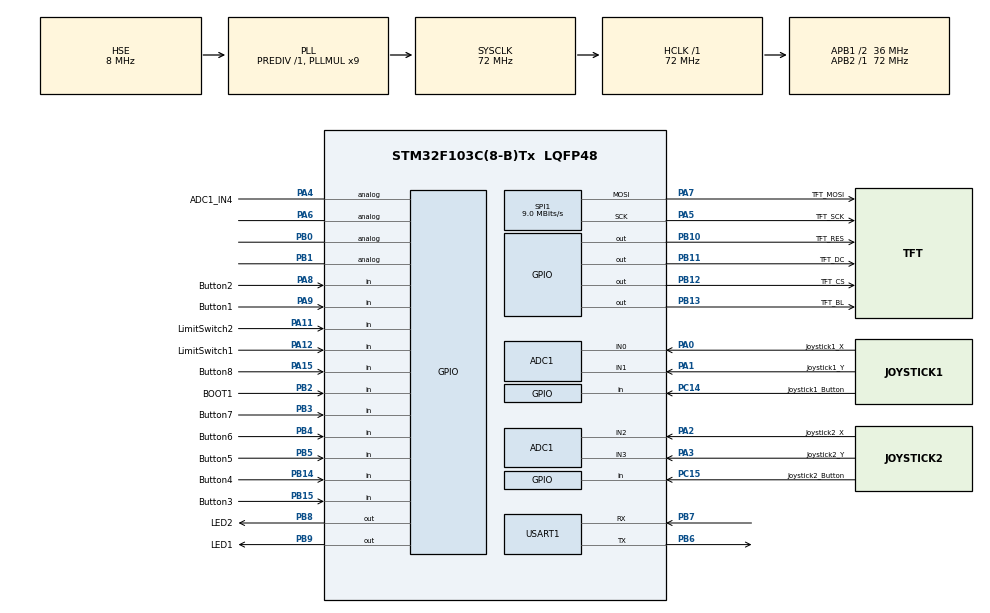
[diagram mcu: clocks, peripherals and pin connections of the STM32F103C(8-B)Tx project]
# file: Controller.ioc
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ADC1.Channel-0\#ChannelRegularConversion=ADC_CHANNEL_0
ADC1.NbrOfConversionFlag=1
ADC1.Rank-0\#ChannelRegularConversion=1
ADC1.SamplingTime-0\#ChannelRegularConversion=ADC_SAMPLETIME_71CYCLES_5
ADC1.master=1
Mcu.Family=STM32F1
Mcu.Name=STM32F103C(8-B)Tx
Mcu.Package=LQFP48
NVIC.PriorityGroup=NVIC_PRIORITYGROUP_4
NVIC.USART1_IRQn=true\:1\:0\:true\:false\:true\:true\:true\:true
PA0-WKUP.GPIO_Label=Joystick1_X
PA0-WKUP.Signal=SharedAnalog_PA0
PA1.GPIO_Label=Joystick1_Y
PA1.Signal=SharedAnalog_PA1
PA11.GPIO_Label=LimitSwitch2
PA11.GPIO_PuPd=GPIO_NOPULL
PA11.Signal=GPIO_Input
PA12.GPIO_Label=LimitSwitch1
PA12.GPIO_PuPd=GPIO_NOPULL
PA12.Signal=GPIO_Input
PA13.Mode=Serial_Wire
PA13.Signal=SYS_JTMS-SWDIO
PA14.Mode=Serial_Wire
PA14.Signal=SYS_JTCK-SWCLK
PA15.GPIO_Label=Button8
PA15.GPIO_PuPd=GPIO_PULLUP
PA15.Signal=GPIO_Input
PA2.GPIO_Label=Joystick2_X
PA2.Signal=SharedAnalog_PA2
PA3.GPIO_Label=Joystick2_Y
PA3.Signal=SharedAnalog_PA3
PA4.GPIO_Label=ADC1_IN4
PA4.Signal=GPIO_Analog
PA5.GPIO_Label=TFT_SCK
PA5.Mode=TX_Only_Simplex_Unidirect_Master
PA5.Signal=SPI1_SCK
PA6.Signal=GPIO_Analog
PA7.GPIO_Label=TFT_MOSI
PA7.Mode=TX_Only_Simplex_Unidirect_Master
PA7.Signal=SPI1_MOSI
PA8.GPIO_Label=Button2
PA8.GPIO_PuPd=GPIO_PULLUP
PA8.Signal=GPIO_Input
PA9.GPIO_Label=Button1
PA9.GPIO_PuPd=GPIO_PULLUP
PA9.Signal=GPIO_Input
PB0.Signal=GPIO_Analog
PB1.Signal=GPIO_Analog
PB10.GPIO_Label=TFT_RES
PB10.Signal=GPIO_Output
PB11.GPIO_Label=TFT_DC
PB11.Signal=GPIO_Output
PB12.GPIO_Label=TFT_CS
PB12.Signal=GPIO_Output
PB13.GPIO_Label=TFT_BL
PB13.Signal=GPIO_Output
PB14.GPIO_Label=Button4
PB14.GPIO_PuPd=GPIO_PULLUP
PB14.Signal=GPIO_Input
PB15.GPIO_Label=Button3
PB15.GPIO_PuPd=GPIO_PULLUP
PB15.Signal=GPIO_Input
PB2.GPIO_Label=BOOT1
PB2.Signal=GPIO_Input
PB3.GPIO_Label=Button7
PB3.GPIO_PuPd=GPIO_PULLUP
PB3.Signal=GPIO_Input
PB4.GPIO_Label=Button6
PB4.GPIO_PuPd=GPIO_PULLUP
PB4.Signal=GPIO_Input
PB5.GPIO_Label=Button5
PB5.GPIO_PuPd=GPIO_PULLUP
PB5.Signal=GPIO_Input
PB6.Mode=Asynchronous
PB6.Signal=USART1_TX
PB7.Mode=Asynchronous
PB7.Signal=USART1_RX
PB8.GPIO_Label=LED2
PB8.GPIO_PuPd=GPIO_NOPULL
PB8.PinState=GPIO_PIN_SET
PB8.Signal=GPIO_Output
PB9.GPIO_Label=LED1
PB9.GPIO_PuPd=GPIO_NOPULL
PB9.PinState=GPIO_PIN_SET
PB9.Signal=GPIO_Output
PC14-OSC32_IN.GPIO_Label=Joystick1_Button
PC14-OSC32_IN.GPIO_PuPd=GPIO_NOPULL
PC14-OSC32_IN.Signal=GPIO_Input
PC15-OSC32_OUT.GPIO_Label=Joystick2_Button
PC15-OSC32_OUT.GPIO_PuPd=GPIO_NOPULL
PC15-OSC32_OUT.Signal=GPIO_Input
PD0-OSC_IN.Mode=HSE-External-Oscillator
PD0-OSC_IN.Signal=RCC_OSC_IN
PD1-OSC_OUT.Mode=HSE-External-Oscillator
PD1-OSC_OUT.Signal=RCC_OSC_OUT
ProjectManager.HeapSize=0x200
ProjectManager.StackSize=0x400
ProjectManager.TargetToolchain=CMake
RCC.ADCPresc=RCC_ADCPCLK2_DIV6
RCC.AHBFreq_Value=72000000
RCC.APB1CLKDivider=RCC_HCLK_DIV2
RCC.APB1Freq_Value=36000000
RCC.APB1TimFreq_Value=72000000
RCC.APB2Freq_Value=72000000
RCC.APB2TimFreq_Value=72000000
RCC.HCLKFreq_Value=72000000
RCC.PLLMUL=RCC_PLL_MUL9
RCC.PLLSourceVirtual=RCC_PLLSOURCE_HSE
RCC.SYSCLKFreq_VALUE=72000000
RCC.SYSCLKSource=RCC_SYSCLKSOURCE_PLLCLK
RCC.USBFreq_Value=72000000
SH.SharedAnalog_PA0.0=GPIO_Analog
SH.SharedAnalog_PA0.1=ADC1_IN0,IN0
SH.SharedAnalog_PA1.0=GPIO_Analog
SH.SharedAnalog_PA1.1=ADC1_IN1,IN1
SH.SharedAnalog_PA2.0=GPIO_Analog
SH.SharedAnalog_PA2.1=ADC1_IN2,IN2
SH.SharedAnalog_PA3.0=GPIO_Analog
SH.SharedAnalog_PA3.1=ADC1_IN3,IN3
SPI1.BaudRatePrescaler=SPI_BAUDRATEPRESCALER_8
SPI1.CalculateBaudRate=9.0 MBits/s
SPI1.Direction=SPI_DIRECTION_2LINES
SPI1.Mode=SPI_MODE_MASTER
SPI1.VirtualType=VM_MASTER
USART1.VirtualMode=VM_ASYNC
board=custom

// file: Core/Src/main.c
/* USER CODE BEGIN Header */
/**
  ******************************************************************************
  * @file           : main.c
  * @brief          : Main program body
  ******************************************************************************
  * @attention
  *
  * Copyright (c) 2026 STMicroelectronics.
  * All rights reserved.
  *
  * This software is licensed under terms that can be found in the LICENSE file
  * in the root directory of this software component.
  * If no LICENSE file comes with this software, it is provided AS-IS.
  *
  ******************************************************************************
  */
/* USER CODE END Header */
#include "main.h"
#include "adc.h"
#include "spi.h"
#include "usart.h"
#include "gpio.h"

/* USER CODE BEGIN Includes */
#include "lcd/lcd.h"
#include "lcd/lcd_graphics.h"
#include "joystick.h"
#include "buttons.h"
#include "controller_link.h"

/* USER CODE END Includes */

/* USER CODE BEGIN PD */
#define DISPLAY_PERIOD_MS 100U

/* USER CODE END PD */

/* USER CODE BEGIN PV */
static uint8_t buttons;
static Joystick_State joystick;
static uint32_t last_display;

/* USER CODE END PV */

void SystemClock_Config(void);

/* USER CODE BEGIN 0 */
void HAL_UART_TxCpltCallback(UART_HandleTypeDef *huart)
{
  if (huart == &huart1 && !Controller_Transmit()) Error_Handler();
}

static void DisplayInputs(void)
{
  uint32_t now = HAL_GetTick();
  if ((uint32_t)(now - last_display) < DISPLAY_PERIOD_MS) return;
  last_display = now;

  uint8_t packet[CONTROLLER_PACKET_SIZE];
  char button_text[BUTTON_COUNT + 1U];
  const char *axis_names[4] = {"J1X", "J1Y", "J2X", "J2Y"};
  Controller_GetPacket(packet);
  for (unsigned i = 0; i < BUTTON_COUNT; ++i)
  {
    button_text[i] = (packet[CONTROLLER_BUTTONS_OFFSET] & (1U << i)) ? '1' : '0';
  }
  button_text[BUTTON_COUNT] = '\0';

  tft_prints(0, 0, "CTRL TX 12B AA55");
  tft_prints(0, 1, "B1-8:%s", button_text);
  for (unsigned i = 0; i < JOYSTICK_AXIS_COUNT; ++i)
  {
    uint16_t wire = (uint16_t)packet[CONTROLLER_AXES_OFFSET + 2U * i] |
                    ((uint16_t)packet[CONTROLLER_AXES_OFFSET + 1U + 2U * i] << 8);
    int value = (wire & 0x8000U) ? (int)wire - 65536 : (int)wire;
    tft_prints(0, (uint8_t)(2U + i), "%s:%+5d", axis_names[i], value);
  }
  tft_prints(0, 6, "SCALE:1000=1.0");
  tft_prints(0, 7, "CRC:%02X", (unsigned)packet[CONTROLLER_CRC_OFFSET]);
  tft_update(0);
}

/* USER CODE END 0 */

int main(void)
{

  /* MCU Configuration--------------------------------------------------------*/

  /* Reset of all peripherals, Initializes the Flash interface and the Systick. */
  HAL_Init();

  /* Configure the system clock */
  SystemClock_Config();

  /* Initialize all configured peripherals */
  MX_GPIO_Init();
  MX_SPI1_Init();
  MX_USART1_UART_Init();
  MX_ADC1_Init();
  /* USER CODE BEGIN 2 */
  if (!Joystick_Start())
  {
    Error_Handler();
  }
  tft_init(PIN_ON_TOP, BLACK, WHITE, CYAN, DARK_GREY);
  buttons = Buttons_Read();
  Joystick_Read(&joystick);
  Controller_SetInputs(buttons, &joystick);
  if (!Controller_Transmit())
  {
    Error_Handler();
  }
  last_display = HAL_GetTick() - DISPLAY_PERIOD_MS;

  /* USER CODE END 2 */

  /* Infinite loop */
  while (1)
  {

    /* USER CODE BEGIN 3 */
    buttons = Buttons_Read();
    Joystick_Read(&joystick);
    Controller_SetInputs(buttons, &joystick);
    DisplayInputs();
  }
  /* USER CODE END 3 */
}

void SystemClock_Config(void)
{
  RCC_OscInitTypeDef RCC_OscInitStruct = {0};
  RCC_ClkInitTypeDef RCC_ClkInitStruct = {0};
  RCC_PeriphCLKInitTypeDef PeriphClkInit = {0};

  /** Initializes the RCC Oscillators according to the specified parameters
  * in the RCC_OscInitTypeDef structure.
  */
  RCC_OscInitStruct.OscillatorType = RCC_OSCILLATORTYPE_HSE;
  RCC_OscInitStruct.HSEState = RCC_HSE_ON;
  RCC_OscInitStruct.HSEPredivValue = RCC_HSE_PREDIV_DIV1;
  RCC_OscInitStruct.HSIState = RCC_HSI_ON;
  RCC_OscInitStruct.PLL.PLLState = RCC_PLL_ON;
  RCC_OscInitStruct.PLL.PLLSource = RCC_PLLSOURCE_HSE;
  RCC_OscInitStruct.PLL.PLLMUL = RCC_PLL_MUL9;
  if (HAL_RCC_OscConfig(&RCC_OscInitStruct) != HAL_OK)
  {
    Error_Handler();
  }

  /** Initializes the CPU, AHB and APB buses clocks
  */
  RCC_ClkInitStruct.ClockType = RCC_CLOCKTYPE_HCLK|RCC_CLOCKTYPE_SYSCLK
                              |RCC_CLOCKTYPE_PCLK1|RCC_CLOCKTYPE_PCLK2;
  RCC_ClkInitStruct.SYSCLKSource = RCC_SYSCLKSOURCE_PLLCLK;
  RCC_ClkInitStruct.AHBCLKDivider = RCC_SYSCLK_DIV1;
  RCC_ClkInitStruct.APB1CLKDivider = RCC_HCLK_DIV2;
  RCC_ClkInitStruct.APB2CLKDivider = RCC_HCLK_DIV1;

  if (HAL_RCC_ClockConfig(&RCC_ClkInitStruct, FLASH_LATENCY_2) != HAL_OK)
  {
    Error_Handler();
  }
  PeriphClkInit.PeriphClockSelection = RCC_PERIPHCLK_ADC;
  PeriphClkInit.AdcClockSelection = RCC_ADCPCLK2_DIV6;
  if (HAL_RCCEx_PeriphCLKConfig(&PeriphClkInit) != HAL_OK)
  {
    Error_Handler();
  }
}

void Error_Handler(void)
{
  __disable_irq();
  while (1)
  {
  }
}
